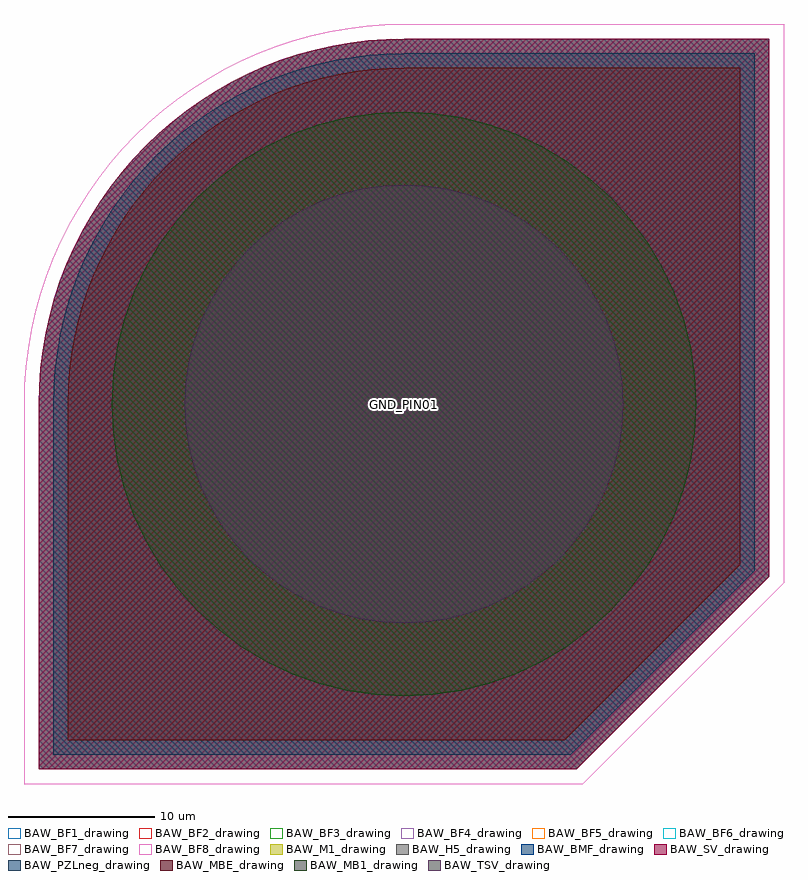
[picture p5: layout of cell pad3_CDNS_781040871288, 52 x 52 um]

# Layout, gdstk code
import gdstk
lib = gdstk.Library(unit=1e-6, precision=1e-09)
def P(c, l, *ps):  # polygons
    for p in ps: c.add(gdstk.Polygon(p, *l))
BAW_MBE_drawing = (2, 0)
BAW_SV_drawing = (7, 0)
BAW_M1_drawing = (8, 0)
BAW_MB1_drawing = (10, 0)
BAW_TSV_drawing = (11, 0)
EM_VPT_drawing = (35, 0)
BAW_BMF_drawing = (55, 0)
BAW_BF1_drawing = (140, 0)
BAW_BF2_drawing = (141, 0)
BAW_BF3_drawing = (142, 0)
BAW_BF4_drawing = (143, 0)
BAW_BF5_drawing = (144, 0)
BAW_BF6_drawing = (145, 0)
BAW_BF7_drawing = (146, 0)
BAW_BF8_drawing = (147, 0)
BAW_H5_drawing = (202, 0)
BAW_PZLneg_drawing = (264, 0)

pad3_cdns_781040871288 = lib.new_cell('pad3_CDNS_781040871288')
P(pad3_cdns_781040871288, BAW_MBE_drawing, [(-23,0),(-22.972,1.129),(-22.889,2.254),(-22.751,3.375),(-22.558,4.487),(-22.311,5.589),(-22.01,6.677),(-21.656,7.749),(-21.249,8.802),(-20.792,9.834),(-20.284,10.842),(-19.728,11.824),(-19.124,12.778),(-18.474,13.701),(-17.779,14.591),(-17.042,15.446),(-16.264,16.264),(-15.446,17.042),(-14.591,17.779),(-13.701,18.474),(-12.778,19.124),(-11.824,19.728),(-10.842,20.284),(-9.834,20.792),(-8.802,21.249),(-7.749,21.656),(-6.677,22.01),(-5.589,22.311),(-4.487,22.558),(-3.375,22.751),(-2.254,22.889),(-1.129,22.972),(0,23),(23,23),(23,-11),(11,-23),(-23,-23)])
P(pad3_cdns_781040871288, BAW_SV_drawing, [(-25,0),(-24.97,1.227),(-24.88,2.45),(-24.729,3.668),(-24.52,4.877),(-24.251,6.075),(-23.924,7.257),(-23.539,8.422),(-23.097,9.567),(-22.6,10.689),(-22.048,11.785),(-21.443,12.853),(-20.787,13.889),(-20.08,14.893),(-19.325,15.86),(-18.524,16.789),(-17.678,17.678),(-16.789,18.524),(-15.86,19.325),(-14.893,20.08),(-13.889,20.787),(-12.853,21.443),(-11.785,22.048),(-10.689,22.6),(-9.567,23.097),(-8.422,23.539),(-7.257,23.924),(-6.075,24.251),(-4.877,24.52),(-3.668,24.729),(-2.45,24.88),(-1.227,24.97),(0,25),(25,25),(25,-11.828),(11.828,-25),(-25,-25)])
P(pad3_cdns_781040871288, BAW_M1_drawing, [(-25,0),(-24.97,1.227),(-24.88,2.45),(-24.729,3.668),(-24.52,4.877),(-24.251,6.075),(-23.924,7.257),(-23.539,8.422),(-23.097,9.567),(-22.6,10.689),(-22.048,11.785),(-21.443,12.853),(-20.787,13.889),(-20.08,14.893),(-19.325,15.86),(-18.524,16.789),(-17.678,17.678),(-16.789,18.524),(-15.86,19.325),(-14.893,20.08),(-13.889,20.787),(-12.853,21.443),(-11.785,22.048),(-10.689,22.6),(-9.567,23.097),(-8.422,23.539),(-7.257,23.924),(-6.075,24.251),(-4.877,24.52),(-3.668,24.729),(-2.45,24.88),(-1.227,24.97),(0,25),(25,25),(25,-11.828),(11.828,-25),(-25,-25)])
P(pad3_cdns_781040871288, BAW_MB1_drawing, [(20,0),(19.904,1.96),(19.616,3.902),(19.139,5.806),(18.478,7.654),(17.638,9.428),(16.629,11.111),(15.46,12.688),(14.142,14.142),(12.688,15.46),(11.111,16.629),(9.428,17.638),(7.654,18.478),(5.806,19.139),(3.902,19.616),(1.96,19.904),(0,20),(-1.96,19.904),(-3.902,19.616),(-5.806,19.139),(-7.654,18.478),(-9.428,17.638),(-11.111,16.629),(-12.688,15.46),(-14.142,14.142),(-15.46,12.688),(-16.629,11.111),(-17.638,9.428),(-18.478,7.654),(-19.139,5.806),(-19.616,3.902),(-19.904,1.96),(-20,0),(-19.904,-1.96),(-19.616,-3.902),(-19.139,-5.806),(-18.478,-7.654),(-17.638,-9.428),(-16.629,-11.111),(-15.46,-12.688),(-14.142,-14.142),(-12.688,-15.46),(-11.111,-16.629),(-9.428,-17.638),(-7.654,-18.478),(-5.806,-19.139),(-3.902,-19.616),(-1.96,-19.904),(0,-20),(1.96,-19.904),(3.902,-19.616),(5.806,-19.139),(7.654,-18.478),(9.428,-17.638),(11.111,-16.629),(12.688,-15.46),(14.142,-14.142),(15.46,-12.688),(16.629,-11.111),(17.638,-9.428),(18.478,-7.654),(19.139,-5.806),(19.616,-3.902),(19.904,-1.96)])
P(pad3_cdns_781040871288, BAW_TSV_drawing, [(15,0),(14.928,1.47),(14.712,2.926),(14.354,4.354),(13.858,5.74),(13.229,7.071),(12.472,8.334),(11.595,9.516),(10.607,10.607),(9.516,11.595),(8.334,12.472),(7.071,13.229),(5.74,13.858),(4.354,14.354),(2.926,14.712),(1.47,14.928),(0,15),(-1.47,14.928),(-2.926,14.712),(-4.354,14.354),(-5.74,13.858),(-7.071,13.229),(-8.334,12.472),(-9.516,11.595),(-10.607,10.607),(-11.595,9.516),(-12.472,8.334),(-13.229,7.071),(-13.858,5.74),(-14.354,4.354),(-14.712,2.926),(-14.928,1.47),(-15,0),(-14.928,-1.47),(-14.712,-2.926),(-14.354,-4.354),(-13.858,-5.74),(-13.229,-7.071),(-12.472,-8.334),(-11.595,-9.516),(-10.607,-10.607),(-9.516,-11.595),(-8.334,-12.472),(-7.071,-13.229),(-5.74,-13.858),(-4.354,-14.354),(-2.926,-14.712),(-1.47,-14.928),(0,-15),(1.47,-14.928),(2.926,-14.712),(4.354,-14.354),(5.74,-13.858),(7.071,-13.229),(8.334,-12.472),(9.516,-11.595),(10.607,-10.607),(11.595,-9.516),(12.472,-8.334),(13.229,-7.071),(13.858,-5.74),(14.354,-4.354),(14.712,-2.926),(14.928,-1.47)])
P(pad3_cdns_781040871288, BAW_BMF_drawing, [(-25,0),(-24.97,1.227),(-24.88,2.45),(-24.729,3.668),(-24.52,4.877),(-24.251,6.075),(-23.924,7.257),(-23.539,8.422),(-23.097,9.567),(-22.6,10.689),(-22.048,11.785),(-21.443,12.853),(-20.787,13.889),(-20.08,14.893),(-19.325,15.86),(-18.524,16.789),(-17.678,17.678),(-16.789,18.524),(-15.86,19.325),(-14.893,20.08),(-13.889,20.787),(-12.853,21.443),(-11.785,22.048),(-10.689,22.6),(-9.567,23.097),(-8.422,23.539),(-7.257,23.924),(-6.075,24.251),(-4.877,24.52),(-3.668,24.729),(-2.45,24.88),(-1.227,24.97),(0,25),(25,25),(25,-11.828),(11.828,-25),(-25,-25)])
P(pad3_cdns_781040871288, BAW_BF1_drawing, [(-26,0),(-25.969,1.276),(-25.875,2.548),(-25.719,3.815),(-25.5,5.072),(-25.221,6.318),(-24.88,7.547),(-24.48,8.759),(-24.021,9.95),(-23.504,11.116),(-22.93,12.256),(-22.301,13.367),(-21.618,14.445),(-20.883,15.488),(-20.098,16.494),(-19.265,17.461),(-18.385,18.385),(-17.461,19.265),(-16.494,20.098),(-15.488,20.883),(-14.445,21.618),(-13.367,22.301),(-12.256,22.93),(-11.116,23.504),(-9.95,24.021),(-8.759,24.48),(-7.547,24.88),(-6.318,25.221),(-5.072,25.5),(-3.815,25.719),(-2.548,25.875),(-1.276,25.969),(0,26),(26,26),(26,-12.243),(12.243,-26),(-26,-26)])
P(pad3_cdns_781040871288, BAW_BF2_drawing, [(-26,0),(-25.969,1.276),(-25.875,2.548),(-25.719,3.815),(-25.5,5.072),(-25.221,6.318),(-24.88,7.547),(-24.48,8.759),(-24.021,9.95),(-23.504,11.116),(-22.93,12.256),(-22.301,13.367),(-21.618,14.445),(-20.883,15.488),(-20.098,16.494),(-19.265,17.461),(-18.385,18.385),(-17.461,19.265),(-16.494,20.098),(-15.488,20.883),(-14.445,21.618),(-13.367,22.301),(-12.256,22.93),(-11.116,23.504),(-9.95,24.021),(-8.759,24.48),(-7.547,24.88),(-6.318,25.221),(-5.072,25.5),(-3.815,25.719),(-2.548,25.875),(-1.276,25.969),(0,26),(26,26),(26,-12.243),(12.243,-26),(-26,-26)])
P(pad3_cdns_781040871288, BAW_BF3_drawing, [(-26,0),(-25.969,1.276),(-25.875,2.548),(-25.719,3.815),(-25.5,5.072),(-25.221,6.318),(-24.88,7.547),(-24.48,8.759),(-24.021,9.95),(-23.504,11.116),(-22.93,12.256),(-22.301,13.367),(-21.618,14.445),(-20.883,15.488),(-20.098,16.494),(-19.265,17.461),(-18.385,18.385),(-17.461,19.265),(-16.494,20.098),(-15.488,20.883),(-14.445,21.618),(-13.367,22.301),(-12.256,22.93),(-11.116,23.504),(-9.95,24.021),(-8.759,24.48),(-7.547,24.88),(-6.318,25.221),(-5.072,25.5),(-3.815,25.719),(-2.548,25.875),(-1.276,25.969),(0,26),(26,26),(26,-12.243),(12.243,-26),(-26,-26)])
P(pad3_cdns_781040871288, BAW_BF4_drawing, [(-26,0),(-25.969,1.276),(-25.875,2.548),(-25.719,3.815),(-25.5,5.072),(-25.221,6.318),(-24.88,7.547),(-24.48,8.759),(-24.021,9.95),(-23.504,11.116),(-22.93,12.256),(-22.301,13.367),(-21.618,14.445),(-20.883,15.488),(-20.098,16.494),(-19.265,17.461),(-18.385,18.385),(-17.461,19.265),(-16.494,20.098),(-15.488,20.883),(-14.445,21.618),(-13.367,22.301),(-12.256,22.93),(-11.116,23.504),(-9.95,24.021),(-8.759,24.48),(-7.547,24.88),(-6.318,25.221),(-5.072,25.5),(-3.815,25.719),(-2.548,25.875),(-1.276,25.969),(0,26),(26,26),(26,-12.243),(12.243,-26),(-26,-26)])
P(pad3_cdns_781040871288, BAW_BF5_drawing, [(-26,0),(-25.969,1.276),(-25.875,2.548),(-25.719,3.815),(-25.5,5.072),(-25.221,6.318),(-24.88,7.547),(-24.48,8.759),(-24.021,9.95),(-23.504,11.116),(-22.93,12.256),(-22.301,13.367),(-21.618,14.445),(-20.883,15.488),(-20.098,16.494),(-19.265,17.461),(-18.385,18.385),(-17.461,19.265),(-16.494,20.098),(-15.488,20.883),(-14.445,21.618),(-13.367,22.301),(-12.256,22.93),(-11.116,23.504),(-9.95,24.021),(-8.759,24.48),(-7.547,24.88),(-6.318,25.221),(-5.072,25.5),(-3.815,25.719),(-2.548,25.875),(-1.276,25.969),(0,26),(26,26),(26,-12.243),(12.243,-26),(-26,-26)])
P(pad3_cdns_781040871288, BAW_BF6_drawing, [(-26,0),(-25.969,1.276),(-25.875,2.548),(-25.719,3.815),(-25.5,5.072),(-25.221,6.318),(-24.88,7.547),(-24.48,8.759),(-24.021,9.95),(-23.504,11.116),(-22.93,12.256),(-22.301,13.367),(-21.618,14.445),(-20.883,15.488),(-20.098,16.494),(-19.265,17.461),(-18.385,18.385),(-17.461,19.265),(-16.494,20.098),(-15.488,20.883),(-14.445,21.618),(-13.367,22.301),(-12.256,22.93),(-11.116,23.504),(-9.95,24.021),(-8.759,24.48),(-7.547,24.88),(-6.318,25.221),(-5.072,25.5),(-3.815,25.719),(-2.548,25.875),(-1.276,25.969),(0,26),(26,26),(26,-12.243),(12.243,-26),(-26,-26)])
P(pad3_cdns_781040871288, BAW_BF7_drawing, [(-26,0),(-25.969,1.276),(-25.875,2.548),(-25.719,3.815),(-25.5,5.072),(-25.221,6.318),(-24.88,7.547),(-24.48,8.759),(-24.021,9.95),(-23.504,11.116),(-22.93,12.256),(-22.301,13.367),(-21.618,14.445),(-20.883,15.488),(-20.098,16.494),(-19.265,17.461),(-18.385,18.385),(-17.461,19.265),(-16.494,20.098),(-15.488,20.883),(-14.445,21.618),(-13.367,22.301),(-12.256,22.93),(-11.116,23.504),(-9.95,24.021),(-8.759,24.48),(-7.547,24.88),(-6.318,25.221),(-5.072,25.5),(-3.815,25.719),(-2.548,25.875),(-1.276,25.969),(0,26),(26,26),(26,-12.243),(12.243,-26),(-26,-26)])
P(pad3_cdns_781040871288, BAW_BF8_drawing, [(-26,0),(-25.969,1.276),(-25.875,2.548),(-25.719,3.815),(-25.5,5.072),(-25.221,6.318),(-24.88,7.547),(-24.48,8.759),(-24.021,9.95),(-23.504,11.116),(-22.93,12.256),(-22.301,13.367),(-21.618,14.445),(-20.883,15.488),(-20.098,16.494),(-19.265,17.461),(-18.385,18.385),(-17.461,19.265),(-16.494,20.098),(-15.488,20.883),(-14.445,21.618),(-13.367,22.301),(-12.256,22.93),(-11.116,23.504),(-9.95,24.021),(-8.759,24.48),(-7.547,24.88),(-6.318,25.221),(-5.072,25.5),(-3.815,25.719),(-2.548,25.875),(-1.276,25.969),(0,26),(26,26),(26,-12.243),(12.243,-26),(-26,-26)])
P(pad3_cdns_781040871288, BAW_H5_drawing, [(-25,0),(-24.97,1.227),(-24.88,2.45),(-24.729,3.668),(-24.52,4.877),(-24.251,6.075),(-23.924,7.257),(-23.539,8.422),(-23.097,9.567),(-22.6,10.689),(-22.048,11.785),(-21.443,12.853),(-20.787,13.889),(-20.08,14.893),(-19.325,15.86),(-18.524,16.789),(-17.678,17.678),(-16.789,18.524),(-15.86,19.325),(-14.893,20.08),(-13.889,20.787),(-12.853,21.443),(-11.785,22.048),(-10.689,22.6),(-9.567,23.097),(-8.422,23.539),(-7.257,23.924),(-6.075,24.251),(-4.877,24.52),(-3.668,24.729),(-2.45,24.88),(-1.227,24.97),(0,25),(25,25),(25,-11.828),(11.828,-25),(-25,-25)])
P(pad3_cdns_781040871288, BAW_PZLneg_drawing, [(-24,0),(-23.971,1.178),(-23.884,2.352),(-23.74,3.522),(-23.539,4.682),(-23.281,5.832),(-22.967,6.967),(-22.597,8.085),(-22.173,9.184),(-21.696,10.261),(-21.166,11.314),(-20.586,12.339),(-19.955,13.334),(-19.277,14.297),(-18.552,15.225),(-17.783,16.117),(-16.971,16.971),(-16.117,17.783),(-15.225,18.552),(-14.297,19.277),(-13.334,19.955),(-12.339,20.586),(-11.314,21.166),(-10.261,21.696),(-9.184,22.173),(-8.085,22.597),(-6.967,22.967),(-5.832,23.281),(-4.682,23.539),(-3.522,23.74),(-2.352,23.884),(-1.178,23.971),(0,24),(24,24),(24,-11.414),(11.414,-24),(-24,-24)])
pad3_cdns_781040871288.add(gdstk.FlexPath([(-30,0),(30,0)], 0, ends="flush", simple_path=True, layer=35, datatype=0))  # EM_VPT_drawing
pad3_cdns_781040871288.add(gdstk.Label('GND_PIN01', (0,0), layer=71, texttype=0))

lib.write_gds('pad3_CDNS_781040871288.gds')
